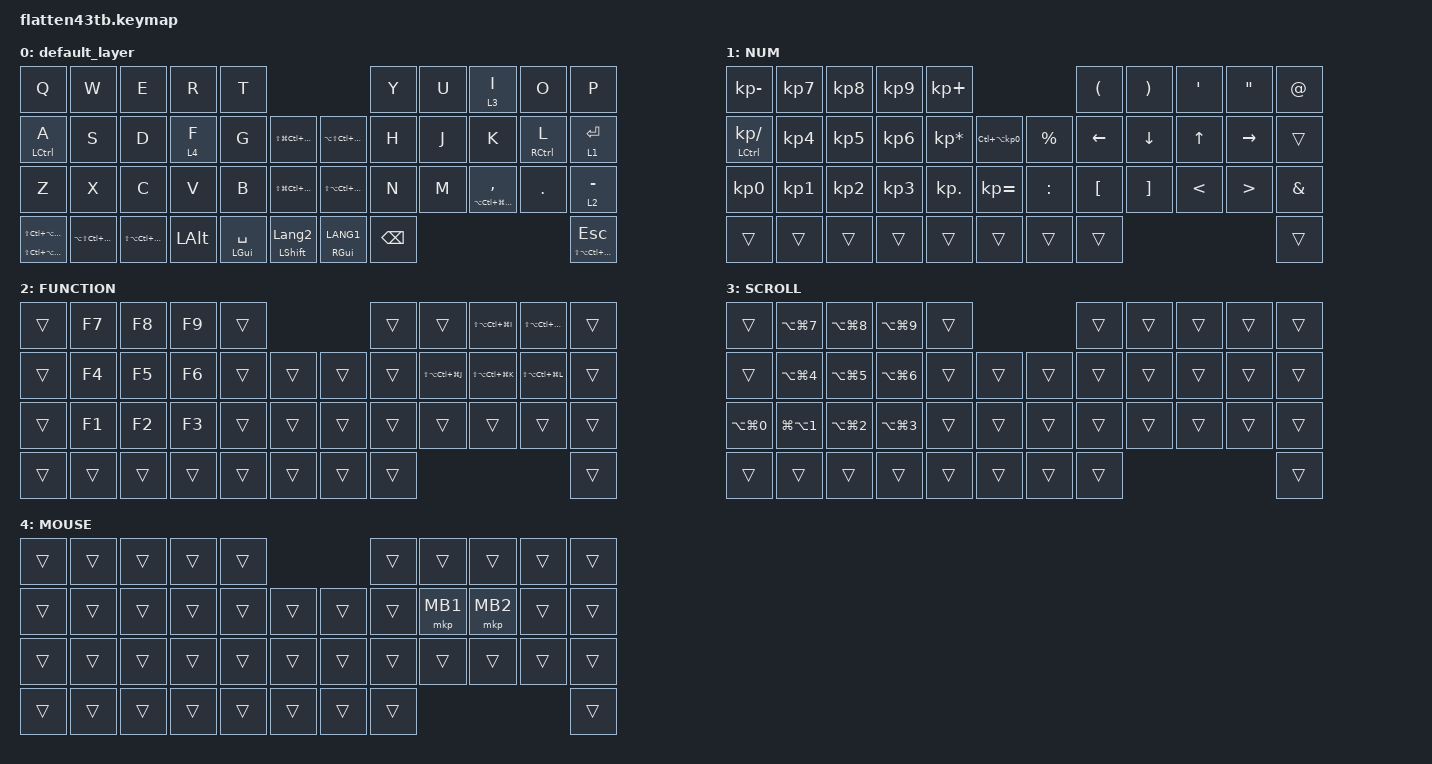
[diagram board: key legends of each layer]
#define ZMK_POINTING_DEFAULT_SCRL_VAL 150

#include <dt-bindings/zmk/input_transform.h>
#include <input/processors.dtsi>
#include <zephyr/dt-bindings/input/input-event-codes.h>
#include <behaviors.dtsi>
#include <dt-bindings/zmk/keys.h>
#include <dt-bindings/zmk/pointing.h>

&mt {
    flavor = "balanced";
    quick-tap-ms = <175>;
};

&mmv {
    delay-ms = <20>;
    trigger-period-ms = <5>;
    time-to-max-speed-ms = <100>;
    acceleration-exponent = <2>;
};

&msc {
    delay-ms = <3>;
    trigger-period-ms = <3>;
    time-to-max-speed-ms = <100>;
    acceleration-exponent = <0>;
};

/ {
    combos {
        compatible = "zmk,combos";

        tab {
            bindings = <&kp LS(TAB)>;
            key-positions = <11 12>;
            timeout-ms = <40>;
        };

        shift_tab {
            bindings = <&kp TAB>;
            key-positions = <12 13>;
            timeout-ms = <40>;
        };

        back {
            bindings = <&kp LG(LEFT_ARROW)>;
            key-positions = <18 19>;
            timeout-ms = <40>;
        };

        next {
            bindings = <&kp LG(RIGHT_ARROW)>;
            key-positions = <19 20>;
            timeout-ms = <40>;
        };

        l-split {
            bindings = <&kp LS(LA(LC(LG(LEFT_BRACKET))))>;
            key-positions = <1 2>;
            timeout-ms = <40>;
        };

        r-split {
            bindings = <&kp LS(LA(LC(LG(RIGHT_BRACKET))))>;
            key-positions = <3 4>;
            timeout-ms = <40>;
        };

        full {
            bindings = <&kp LS(LA(LC(LG(EQUAL))))>;
            key-positions = <1 2 3>;
            timeout-ms = <50>;
        };

        exclamation {
            bindings = <&kp EXCLAMATION>;
            key-positions = <31 30>;
            timeout-ms = <40>;
        };

        question {
            bindings = <&kp QUESTION>;
            key-positions = <32 31>;
            timeout-ms = <40>;
        };

        pipe {
            bindings = <&kp PIPE>;
            key-positions = <5 6>;
            timeout-ms = <40>;
        };

        menu {
            bindings = <&kp BACKSLASH>;
            key-positions = <8 9>;
            timeout-ms = <40>;
        };

        half {
            bindings = <&kp LA(LS(LC(LG(B))))>;
            key-positions = <2 4 3>;
            timeout-ms = <50>;
        };

        change {
            bindings = <&kp LS(LA(LC(LG(Q))))>;
            key-positions = <0 1>;
        };
    };

    keymap {
        compatible = "zmk,keymap";

        default_layer {
            bindings = <
&kp Q                                      &kp W                    &kp E                    &kp R         &kp T                                                                       &kp Y          &kp U  &lt 3 I                        &kp O                &kp P
&mt LCTRL A                                &kp S                    &kp D                    &lt 4 F       &kp G               &kp LS(LG(LC(LA(F15))))        &kp LA(LS(LC(LG(F13))))  &kp H          &kp J  &kp K                          &mt RIGHT_CONTROL L  &lt 1 ENTER
&kp Z                                      &kp X                    &kp C                    &kp V         &kp B               &kp LS(LG(LC(LA(F16))))        &kp LS(LA(LC(LG(F14))))  &kp N          &kp M  &mt LA(LC(LG(LS(F17)))) COMMA  &kp DOT              &lt 2 MINUS
&mt LS(LC(LA(LG(F3)))) LS(LC(LA(LG(F1))))  &kp LA(LS(LC(LG(F12))))  &kp LS(LA(LC(LG(F11))))  &kp LEFT_ALT  &mt LEFT_GUI SPACE  &mt LEFT_SHIFT LANGUAGE_2      &mt RIGHT_GUI LANG1      &kp BACKSPACE                                                             &mt LS(LA(LC(LG(F2)))) ESCAPE
            >;
        };

        NUM {
            bindings = <
&kp KP_MINUS               &kp KP_NUMBER_7  &kp KP_NUMBER_8  &kp KP_NUMBER_9  &kp KP_PLUS                                                &kp LEFT_PARENTHESIS  &kp RIGHT_PARENTHESIS  &kp SINGLE_QUOTE  &kp DOUBLE_QUOTES  &kp AT_SIGN
&mt LEFT_CONTROL KP_SLASH  &kp KP_NUMBER_4  &kp KP_NUMBER_5  &kp KP_NUMBER_6  &kp KP_ASTERISK  &kp LC(LA(KP_NUMBER_0))      &kp PERCENT  &kp LEFT_ARROW        &kp DOWN_ARROW         &kp UP_ARROW      &kp RIGHT_ARROW    &trans
&kp KP_NUMBER_0            &kp KP_NUMBER_1  &kp KP_NUMBER_2  &kp KP_NUMBER_3  &kp KP_DOT       &kp KP_EQUAL                 &kp COLON    &kp LEFT_BRACKET      &kp RIGHT_BRACKET      &kp LESS_THAN     &kp GREATER_THAN   &kp AMPERSAND
&trans                     &trans           &trans           &trans           &trans           &trans                       &trans       &trans                                                                            &trans
            >;
        };

        FUNCTION {
            bindings = <
&trans  &kp F7  &kp F8  &kp F9  &trans                      &trans  &trans                 &kp LS(LA(LC(LG(I))))  &kp LS(LA(LC(LG(O))))  &trans
&trans  &kp F4  &kp F5  &kp F6  &trans  &trans      &trans  &trans  &kp LS(LA(LC(LG(J))))  &kp LS(LA(LC(LG(K))))  &kp LS(LA(LC(LG(L))))  &trans
&trans  &kp F1  &kp F2  &kp F3  &trans  &trans      &trans  &trans  &trans                 &trans                 &trans                 &trans
&trans  &trans  &trans  &trans  &trans  &trans      &trans  &trans                                                                       &trans
            >;
        };

        SCROLL {
            bindings = <
&trans                &kp LA(LG(NUMBER_7))  &kp LA(LG(NUMBER_8))  &kp LA(LG(NUMBER_9))  &trans                      &trans  &trans  &trans  &trans  &trans
&trans                &kp LA(LG(NUMBER_4))  &kp LA(LG(NUMBER_5))  &kp LA(LG(NUMBER_6))  &trans  &trans      &trans  &trans  &trans  &trans  &trans  &trans
&kp LA(LG(NUMBER_0))  &kp LG(LA(NUMBER_1))  &kp LA(LG(NUMBER_2))  &kp LA(LG(NUMBER_3))  &trans  &trans      &trans  &trans  &trans  &trans  &trans  &trans
&trans                &trans                &trans                &trans                &trans  &trans      &trans  &trans                          &trans
            >;
        };

        MOUSE {
            bindings = <
&trans  &trans  &trans  &trans  &trans                      &trans  &trans    &trans    &trans  &trans
&trans  &trans  &trans  &trans  &trans  &trans      &trans  &trans  &mkp MB1  &mkp MB2  &trans  &trans
&trans  &trans  &trans  &trans  &trans  &trans      &trans  &trans  &trans    &trans    &trans  &trans
&trans  &trans  &trans  &trans  &trans  &trans      &trans  &trans                              &trans
            >;
        };
    };
};
